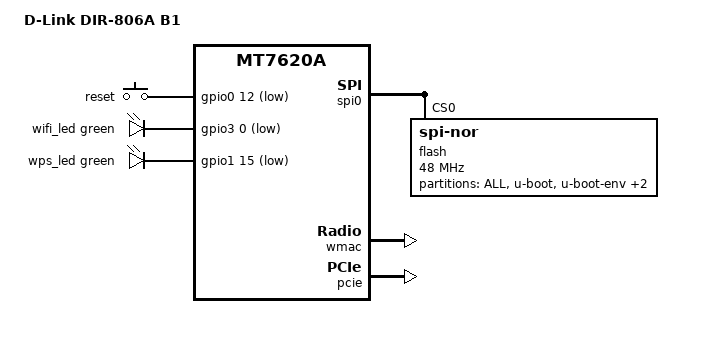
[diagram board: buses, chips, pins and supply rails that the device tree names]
// SPDX-License-Identifier: GPL-2.0-or-later OR MIT

#include "mt7620a.dtsi"

#include <dt-bindings/gpio/gpio.h>
#include <dt-bindings/input/input.h>
#include <dt-bindings/leds/common.h>

/ {
	compatible = "dlink,dir-806a-b1", "ralink,mt7620a-soc";
	model = "D-Link DIR-806A B1";

	aliases {
		led-boot = &wps_led;
		led-failsafe = &wps_led;
		led-running = &wps_led;
		led-upgrade = &wps_led;
	};

	keys {
		compatible = "gpio-keys";

		reset {
			label = "reset";
			gpios = <&gpio0 12 GPIO_ACTIVE_LOW>;	// #12
			linux,code = <KEY_RESTART>;
		};
	};

	leds {
		compatible = "gpio-leds";

		wifi_led: 2.4g {
			color = <LED_COLOR_ID_GREEN>;
			function = LED_FUNCTION_WLAN;
			gpios = <&gpio3 0 GPIO_ACTIVE_LOW>;	// #72
		};

		wps_led: wps {
			color = <LED_COLOR_ID_GREEN>;
			function = LED_FUNCTION_WPS;
			gpios = <&gpio1 15 GPIO_ACTIVE_LOW>;	// #39
		};

	};

};

&gpio0 {
	status = "okay";
};

&gpio1 {
	status = "okay";
};

&gpio3 {
	status = "okay";
};

&spi0 {
	status = "okay";

	flash@0 {
		compatible = "jedec,spi-nor";
		reg = <0>;
		spi-max-frequency = <48000000>;

		partitions {
			compatible = "fixed-partitions";
			#address-cells = <1>;
			#size-cells = <1>;

			partition@0 {
				label = "ALL";
				reg = <0x0 0x800000>;
				read-only;
			};

			partition@0_1 {
				label = "u-boot";
				reg = <0x0 0x30000>;
				read-only;
			};

			partition@30000 {
				label = "u-boot-env";
				reg = <0x30000 0x10000>;
			};

			partition@40000 {
				label = "Factory";
				reg = <0x40000 0x10000>;
				read-only;

				nvmem-layout {
					compatible = "fixed-layout";
					#address-cells = <1>;
					#size-cells = <1>;

					eeprom_factory_0: eeprom@0 {
						reg = <0x0 0x200>;
					};

					eeprom_factory_8000: eeprom@8000 {
						reg = <0x8000 0x200>;
					};

					macaddr_factory_4: macaddr@4 {
						compatible = "mac-base";
						reg = <0x4 0x6>;
						#nvmem-cell-cells = <1>;
					};

					macaddr_factory_8004: macaddr@8004 {
						compatible = "mac-base";
						reg = <0x8004 0x6>;
						#nvmem-cell-cells = <1>;
					};
				};
			};

			partition@50000 {
				compatible = "denx,uimage";
				label = "firmware";
				reg = <0x50000 0x7b0000>;
			};

		};
	};
};

&state_default {
	gpio {
		groups = "i2c", "uartf", "ephy";
		function = "gpio";
	};
};

&ethernet {
	nvmem-cells = <&macaddr_factory_4 (-2)>;
	nvmem-cell-names = "mac-address";
};

&wmac {
	pinctrl-names = "default", "pa_gpio";
	pinctrl-0 = <&pa_pins>;
	pinctrl-1 = <&pa_gpio_pins>;

	nvmem-cells = <&eeprom_factory_0>, <&macaddr_factory_4 (-1)>;
	nvmem-cell-names = "eeprom", "mac-address";
};

&pcie {
	status = "okay";
};

&pcie0 {
	wifi@0,0 {
		reg = <0x0000 0 0 0 0>;
		ieee80211-freq-limit = <5000000 6000000>;
		nvmem-cells = <&eeprom_factory_8000>, <&macaddr_factory_8004 (-3)>;
		nvmem-cell-names = "eeprom", "mac-address";

		led {
			led-active-low;
		};
	};
};
